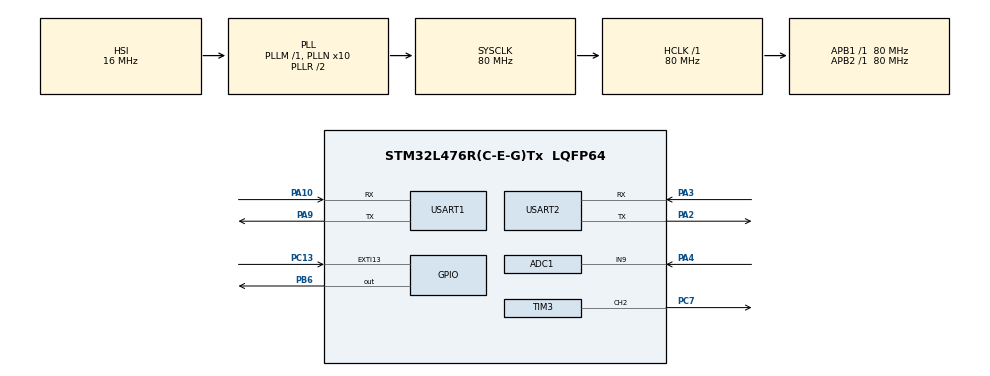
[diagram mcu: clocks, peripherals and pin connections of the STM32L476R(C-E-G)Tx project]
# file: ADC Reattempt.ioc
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ADC1.Channel-0\#ChannelRegularConversion=ADC_CHANNEL_9
ADC1.ContinuousConvMode=ENABLE
ADC1.NbrOfConversionFlag=1
ADC1.OffsetNumber-0\#ChannelRegularConversion=ADC_OFFSET_NONE
ADC1.Rank-0\#ChannelRegularConversion=1
ADC1.SamplingTime-0\#ChannelRegularConversion=ADC_SAMPLETIME_47CYCLES_5
ADC1.master=1
Mcu.Family=STM32L4
Mcu.Name=STM32L476R(C-E-G)Tx
Mcu.Package=LQFP64
NVIC.EXTI15_10_IRQn=true\:0\:0\:false\:false\:true\:true\:true\:true
NVIC.PriorityGroup=NVIC_PRIORITYGROUP_4
NVIC.USART1_IRQn=true\:0\:0\:false\:false\:true\:true\:true\:true
NVIC.USART2_IRQn=true\:0\:0\:false\:false\:true\:true\:true\:true
PA10.Mode=Asynchronous
PA10.Signal=USART1_RX
PA2.Mode=Asynchronous
PA2.Signal=USART2_TX
PA3.Mode=Asynchronous
PA3.Signal=USART2_RX
PA4.Signal=ADCx_IN9
PA9.Mode=Asynchronous
PA9.Signal=USART1_TX
PB6.Signal=GPIO_Output
PC13.GPIO_ModeDefaultEXTI=GPIO_MODE_IT_FALLING
PC13.GPIO_PuPd=GPIO_PULLUP
PC13.Signal=GPXTI13
PC7.Signal=S_TIM3_CH2
ProjectManager.HeapSize=0x200
ProjectManager.StackSize=0x400
ProjectManager.TargetToolchain=STM32CubeIDE
RCC.ADCFreq_Value=64000000
RCC.AHBFreq_Value=80000000
RCC.APB1Freq_Value=80000000
RCC.APB1TimFreq_Value=80000000
RCC.APB2Freq_Value=80000000
RCC.APB2TimFreq_Value=80000000
RCC.CortexFreq_Value=80000000
RCC.HCLKFreq_Value=80000000
RCC.HSE_VALUE=8000000
RCC.HSI_VALUE=16000000
RCC.LSE_VALUE=32768
RCC.MSI_VALUE=4000000
RCC.PLLN=10
RCC.PLLSourceVirtual=RCC_PLLSOURCE_HSI
RCC.PREFETCH_ENABLE=1
RCC.SYSCLKFreq_VALUE=80000000
RCC.SYSCLKSource=RCC_SYSCLKSOURCE_PLLCLK
RCC.USBFreq_Value=64000000
RCC.VCOOutputFreq_Value=160000000
SH.ADCx_IN9.0=ADC1_IN9,IN9-Single-Ended
SH.S_TIM3_CH2.0=TIM3_CH2,PWM Generation2 CH2
TIM3.Channel-PWM\ Generation2\ CH2=TIM_CHANNEL_2
TIM3.Period=999
TIM3.Prescaler=79
USART1.VirtualMode-Asynchronous=VM_ASYNC
USART2.VirtualMode-Asynchronous=VM_ASYNC
VP_TIM3_VS_ClockSourceINT.Mode=Internal
board=NUCLEO-L476RG

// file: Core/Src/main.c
/* USER CODE BEGIN Header */
/**
  ******************************************************************************
  * @file           : main.c
  * @brief          : Main program body
  ******************************************************************************
  * @attention
  *
  * Copyright (c) 2026 STMicroelectronics.
  * All rights reserved.
  *
  * This software is licensed under terms that can be found in the LICENSE file
  * in the root directory of this software component.
  * If no LICENSE file comes with this software, it is provided AS-IS.
  *
  ******************************************************************************
  */
/* USER CODE END Header */
#include "main.h"

/* USER CODE BEGIN Includes */

#include <string.h>
#include <stdio.h>
#include <stdlib.h>

/* USER CODE END Includes */

ADC_HandleTypeDef hadc1;

TIM_HandleTypeDef htim3;

UART_HandleTypeDef huart1;
UART_HandleTypeDef huart2;

/* USER CODE BEGIN PV */

#define BUF_SIZ  10

uint16_t adc_value;

uint32_t voltage;

uint32_t duty;

char msg[32];

uint8_t rx_char1;

uint8_t rx_char2;

uint8_t rx_index;

char rx_buffer[BUF_SIZ];

volatile uint8_t uart_flag = 0;

uint8_t console[] = "We are controlling on the Console";

uint8_t bluetooth[] = "We are controlling via bluetooth";

typedef enum{
	BLUETOOTH_MODE = 0,
	KEYBOARD_MODE,
	POTENTIOMETER_MODE
}Control_mode;

Control_mode current_mode = BLUETOOTH_MODE;

/* USER CODE END PV */

void SystemClock_Config(void);
static void MX_GPIO_Init(void);
static void MX_USART2_UART_Init(void);
static void MX_ADC1_Init(void);
static void MX_TIM3_Init(void);
static void MX_USART1_UART_Init(void);
/* USER CODE BEGIN PFP */

void ReadPotentiometer(void);
void ReadBluetooth(void);
void ReadKeyboard(void);

/* USER CODE END PFP */

int main(void)
{

  /* MCU Configuration--------------------------------------------------------*/

  /* Reset of all peripherals, Initializes the Flash interface and the Systick. */
  HAL_Init();

  /* Configure the system clock */
  SystemClock_Config();

  /* Initialize all configured peripherals */
  MX_GPIO_Init();
  MX_USART2_UART_Init();
  MX_ADC1_Init();
  MX_TIM3_Init();
  MX_USART1_UART_Init();
  /* USER CODE BEGIN 2 */

  HAL_ADCEx_Calibration_Start(&hadc1, ADC_SINGLE_ENDED);

  HAL_TIM_PWM_Start(&htim3, TIM_CHANNEL_2);

  /* USER CODE END 2 */

  /* Infinite loop */
  while (1)
  {

    /* USER CODE BEGIN 3 */
	  switch(current_mode){

	  case BLUETOOTH_MODE:
		  ReadBluetooth();
//		  HAL_UART_Transmit(&huart2, bluetooth, sizeof(bluetooth), HAL_MAX_DELAY);
		  break;

	  case POTENTIOMETER_MODE:
		  ReadPotentiometer();
		  break;

	  case KEYBOARD_MODE:
		  ReadKeyboard();
//		  HAL_UART_Transmit(&huart1, console, sizeof(console), HAL_MAX_DELAY);
		  break;

	  }

	  if(uart_flag == 1){

		  uart_flag = 0;

	  }

	  if(uart_flag == 2){

		  uart_flag = 0;

	  }
  }
  /* USER CODE END 3 */
}

void SystemClock_Config(void)
{
  RCC_OscInitTypeDef RCC_OscInitStruct = {0};
  RCC_ClkInitTypeDef RCC_ClkInitStruct = {0};

  /** Configure the main internal regulator output voltage
  */
  if (HAL_PWREx_ControlVoltageScaling(PWR_REGULATOR_VOLTAGE_SCALE1) != HAL_OK)
  {
    Error_Handler();
  }

  /** Initializes the RCC Oscillators according to the specified parameters
  * in the RCC_OscInitTypeDef structure.
  */
  RCC_OscInitStruct.OscillatorType = RCC_OSCILLATORTYPE_HSI;
  RCC_OscInitStruct.HSIState = RCC_HSI_ON;
  RCC_OscInitStruct.HSICalibrationValue = RCC_HSICALIBRATION_DEFAULT;
  RCC_OscInitStruct.PLL.PLLState = RCC_PLL_ON;
  RCC_OscInitStruct.PLL.PLLSource = RCC_PLLSOURCE_HSI;
  RCC_OscInitStruct.PLL.PLLM = 1;
  RCC_OscInitStruct.PLL.PLLN = 10;
  RCC_OscInitStruct.PLL.PLLP = RCC_PLLP_DIV7;
  RCC_OscInitStruct.PLL.PLLQ = RCC_PLLQ_DIV2;
  RCC_OscInitStruct.PLL.PLLR = RCC_PLLR_DIV2;
  if (HAL_RCC_OscConfig(&RCC_OscInitStruct) != HAL_OK)
  {
    Error_Handler();
  }

  /** Initializes the CPU, AHB and APB buses clocks
  */
  RCC_ClkInitStruct.ClockType = RCC_CLOCKTYPE_HCLK|RCC_CLOCKTYPE_SYSCLK
                              |RCC_CLOCKTYPE_PCLK1|RCC_CLOCKTYPE_PCLK2;
  RCC_ClkInitStruct.SYSCLKSource = RCC_SYSCLKSOURCE_PLLCLK;
  RCC_ClkInitStruct.AHBCLKDivider = RCC_SYSCLK_DIV1;
  RCC_ClkInitStruct.APB1CLKDivider = RCC_HCLK_DIV1;
  RCC_ClkInitStruct.APB2CLKDivider = RCC_HCLK_DIV1;

  if (HAL_RCC_ClockConfig(&RCC_ClkInitStruct, FLASH_LATENCY_4) != HAL_OK)
  {
    Error_Handler();
  }
}

static void MX_ADC1_Init(void)
{

  ADC_MultiModeTypeDef multimode = {0};
  ADC_ChannelConfTypeDef sConfig = {0};

  /** Common config
  */
  hadc1.Instance = ADC1;
  hadc1.Init.ClockPrescaler = ADC_CLOCK_ASYNC_DIV1;
  hadc1.Init.Resolution = ADC_RESOLUTION_12B;
  hadc1.Init.DataAlign = ADC_DATAALIGN_RIGHT;
  hadc1.Init.ScanConvMode = ADC_SCAN_DISABLE;
  hadc1.Init.EOCSelection = ADC_EOC_SINGLE_CONV;
  hadc1.Init.LowPowerAutoWait = DISABLE;
  hadc1.Init.ContinuousConvMode = ENABLE;
  hadc1.Init.NbrOfConversion = 1;
  hadc1.Init.DiscontinuousConvMode = DISABLE;
  hadc1.Init.ExternalTrigConv = ADC_SOFTWARE_START;
  hadc1.Init.ExternalTrigConvEdge = ADC_EXTERNALTRIGCONVEDGE_NONE;
  hadc1.Init.DMAContinuousRequests = DISABLE;
  hadc1.Init.Overrun = ADC_OVR_DATA_PRESERVED;
  hadc1.Init.OversamplingMode = DISABLE;
  if (HAL_ADC_Init(&hadc1) != HAL_OK)
  {
    Error_Handler();
  }

  /** Configure the ADC multi-mode
  */
  multimode.Mode = ADC_MODE_INDEPENDENT;
  if (HAL_ADCEx_MultiModeConfigChannel(&hadc1, &multimode) != HAL_OK)
  {
    Error_Handler();
  }

  /** Configure Regular Channel
  */
  sConfig.Channel = ADC_CHANNEL_9;
  sConfig.Rank = ADC_REGULAR_RANK_1;
  sConfig.SamplingTime = ADC_SAMPLETIME_47CYCLES_5;
  sConfig.SingleDiff = ADC_SINGLE_ENDED;
  sConfig.OffsetNumber = ADC_OFFSET_NONE;
  sConfig.Offset = 0;
  if (HAL_ADC_ConfigChannel(&hadc1, &sConfig) != HAL_OK)
  {
    Error_Handler();
  }

}

static void MX_TIM3_Init(void)
{

  TIM_ClockConfigTypeDef sClockSourceConfig = {0};
  TIM_MasterConfigTypeDef sMasterConfig = {0};
  TIM_OC_InitTypeDef sConfigOC = {0};

  htim3.Instance = TIM3;
  htim3.Init.Prescaler = 79;
  htim3.Init.CounterMode = TIM_COUNTERMODE_UP;
  htim3.Init.Period = 999;
  htim3.Init.ClockDivision = TIM_CLOCKDIVISION_DIV1;
  htim3.Init.AutoReloadPreload = TIM_AUTORELOAD_PRELOAD_DISABLE;
  if (HAL_TIM_Base_Init(&htim3) != HAL_OK)
  {
    Error_Handler();
  }
  sClockSourceConfig.ClockSource = TIM_CLOCKSOURCE_INTERNAL;
  if (HAL_TIM_ConfigClockSource(&htim3, &sClockSourceConfig) != HAL_OK)
  {
    Error_Handler();
  }
  if (HAL_TIM_PWM_Init(&htim3) != HAL_OK)
  {
    Error_Handler();
  }
  sMasterConfig.MasterOutputTrigger = TIM_TRGO_RESET;
  sMasterConfig.MasterSlaveMode = TIM_MASTERSLAVEMODE_DISABLE;
  if (HAL_TIMEx_MasterConfigSynchronization(&htim3, &sMasterConfig) != HAL_OK)
  {
    Error_Handler();
  }
  sConfigOC.OCMode = TIM_OCMODE_PWM1;
  sConfigOC.Pulse = 0;
  sConfigOC.OCPolarity = TIM_OCPOLARITY_HIGH;
  sConfigOC.OCFastMode = TIM_OCFAST_DISABLE;
  if (HAL_TIM_PWM_ConfigChannel(&htim3, &sConfigOC, TIM_CHANNEL_2) != HAL_OK)
  {
    Error_Handler();
  }
  HAL_TIM_MspPostInit(&htim3);

}

static void MX_USART1_UART_Init(void)
{

  huart1.Instance = USART1;
  huart1.Init.BaudRate = 9600;
  huart1.Init.WordLength = UART_WORDLENGTH_8B;
  huart1.Init.StopBits = UART_STOPBITS_1;
  huart1.Init.Parity = UART_PARITY_NONE;
  huart1.Init.Mode = UART_MODE_TX_RX;
  huart1.Init.HwFlowCtl = UART_HWCONTROL_NONE;
  huart1.Init.OverSampling = UART_OVERSAMPLING_16;
  huart1.Init.OneBitSampling = UART_ONE_BIT_SAMPLE_DISABLE;
  huart1.AdvancedInit.AdvFeatureInit = UART_ADVFEATURE_NO_INIT;
  if (HAL_UART_Init(&huart1) != HAL_OK)
  {
    Error_Handler();
  }

}

static void MX_USART2_UART_Init(void)
{

  huart2.Instance = USART2;
  huart2.Init.BaudRate = 115200;
  huart2.Init.WordLength = UART_WORDLENGTH_8B;
  huart2.Init.StopBits = UART_STOPBITS_1;
  huart2.Init.Parity = UART_PARITY_NONE;
  huart2.Init.Mode = UART_MODE_TX_RX;
  huart2.Init.HwFlowCtl = UART_HWCONTROL_NONE;
  huart2.Init.OverSampling = UART_OVERSAMPLING_16;
  huart2.Init.OneBitSampling = UART_ONE_BIT_SAMPLE_DISABLE;
  huart2.AdvancedInit.AdvFeatureInit = UART_ADVFEATURE_NO_INIT;
  if (HAL_UART_Init(&huart2) != HAL_OK)
  {
    Error_Handler();
  }

}

static void MX_GPIO_Init(void)
{
  GPIO_InitTypeDef GPIO_InitStruct = {0};

  /* GPIO Ports Clock Enable */
  __HAL_RCC_GPIOC_CLK_ENABLE();
  __HAL_RCC_GPIOA_CLK_ENABLE();
  __HAL_RCC_GPIOB_CLK_ENABLE();

  /*Configure GPIO pin Output Level */
  HAL_GPIO_WritePin(GPIOB, GPIO_PIN_6, GPIO_PIN_RESET);

  /*Configure GPIO pin : PC13 */
  GPIO_InitStruct.Pin = GPIO_PIN_13;
  GPIO_InitStruct.Mode = GPIO_MODE_IT_FALLING;
  GPIO_InitStruct.Pull = GPIO_PULLUP;
  HAL_GPIO_Init(GPIOC, &GPIO_InitStruct);

  /*Configure GPIO pin : PB6 */
  GPIO_InitStruct.Pin = GPIO_PIN_6;
  GPIO_InitStruct.Mode = GPIO_MODE_OUTPUT_PP;
  GPIO_InitStruct.Pull = GPIO_NOPULL;
  GPIO_InitStruct.Speed = GPIO_SPEED_FREQ_LOW;
  HAL_GPIO_Init(GPIOB, &GPIO_InitStruct);

  /* EXTI interrupt init*/
  HAL_NVIC_SetPriority(EXTI15_10_IRQn, 0, 0);
  HAL_NVIC_EnableIRQ(EXTI15_10_IRQn);

}

/* USER CODE BEGIN 4 */

void HAL_GPIO_EXTI_Callback(uint16_t GPIO_Pin)
{
  /* Prevent unused argument(s) compilation warning */
  UNUSED(GPIO_Pin);

  /* NOTE: This function should not be modified, when the callback is needed,
           the HAL_GPIO_EXTI_Callback could be implemented in the user file
   */
  if(GPIO_Pin == GPIO_PIN_13){

	  HAL_GPIO_TogglePin(GPIOB, GPIO_PIN_6);

	  current_mode++;

	  if(current_mode > POTENTIOMETER_MODE){
		  current_mode = BLUETOOTH_MODE;
	  }
  }
}

void ReadPotentiometer(void){
		HAL_ADC_Start(&hadc1);
		  HAL_ADC_PollForConversion(&hadc1, 100);
		  adc_value = HAL_ADC_GetValue(&hadc1);
		  HAL_ADC_Stop(&hadc1);

		  voltage = (adc_value * 3300) / 4095;

		  duty = (voltage * 999) / 3300;

		  __HAL_TIM_SET_COMPARE(&htim3, TIM_CHANNEL_2, duty);

		  int len = snprintf(msg, sizeof(msg), "The raw data is : %lu", voltage);

		  HAL_UART_Transmit(&huart2, (uint8_t *)msg, len, HAL_MAX_DELAY);

		  HAL_UART_Transmit(&huart1, (uint8_t *)msg, len, HAL_MAX_DELAY);

		  HAL_Delay(500);
}

void ReadBluetooth(void){
	HAL_UART_Receive_IT(&huart1, &rx_char2, 1);
}

void ReadKeyboard(void){
	HAL_UART_Receive_IT(&huart2, &rx_char1, 1);
}

void HAL_UART_RxCpltCallback(UART_HandleTypeDef *huart)
{
  /* Prevent unused argument(s) compilation warning */
  UNUSED(huart);

  /* NOTE : This function should not be modified, when the callback is needed,
            the HAL_UART_RxCpltCallback can be implemented in the user file.
   */
  if(huart->Instance == USART2){
	  if(rx_char1 == '\r'){
		  rx_buffer[rx_index] = '\0';
		  duty = atoi(rx_buffer);
		  __HAL_TIM_SET_COMPARE(&htim3, TIM_CHANNEL_2, duty);
		  rx_index = 0;
	  }

	  else if(rx_index < BUF_SIZ - 1){
		  rx_buffer[rx_index++] = rx_char1;
	  }
  }

  if(huart->Instance == USART1){
	  if(rx_char2 == '\n'){
		  rx_buffer[rx_index] = '\0';
		  duty = atoi(rx_buffer);
		  __HAL_TIM_SET_COMPARE(&htim3, TIM_CHANNEL_2, duty);
		  rx_index = 0;
	  }

	  else if(rx_index < BUF_SIZ - 1){
		  rx_buffer[rx_index++] = rx_char2;
	  }
  }

}

/* USER CODE END 4 */

void Error_Handler(void)
{
  __disable_irq();
  while (1)
  {
  }
}
